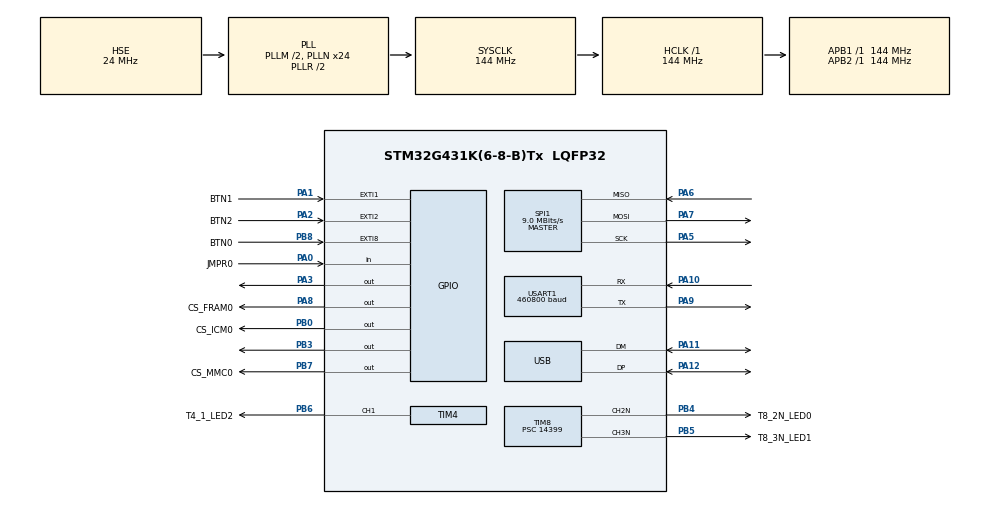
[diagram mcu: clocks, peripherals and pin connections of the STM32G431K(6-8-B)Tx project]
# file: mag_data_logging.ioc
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Dma.Request0=SPI1_RX
Dma.Request1=SPI1_TX
Dma.Request2=USART1_TX
Dma.SPI1_RX.0.Direction=DMA_PERIPH_TO_MEMORY
Dma.SPI1_RX.0.EventEnable=DISABLE
Dma.SPI1_RX.0.Instance=DMA1_Channel1
Dma.SPI1_RX.0.MemDataAlignment=DMA_MDATAALIGN_BYTE
Dma.SPI1_RX.0.MemInc=DMA_MINC_ENABLE
Dma.SPI1_RX.0.Mode=DMA_NORMAL
Dma.SPI1_RX.0.PeriphDataAlignment=DMA_PDATAALIGN_BYTE
Dma.SPI1_RX.0.PeriphInc=DMA_PINC_DISABLE
Dma.SPI1_RX.0.Polarity=HAL_DMAMUX_REQ_GEN_RISING
Dma.SPI1_RX.0.Priority=DMA_PRIORITY_MEDIUM
Dma.SPI1_RX.0.RequestNumber=1
Dma.SPI1_RX.0.SignalID=NONE
Dma.SPI1_RX.0.SyncEnable=DISABLE
Dma.SPI1_RX.0.SyncPolarity=HAL_DMAMUX_SYNC_NO_EVENT
Dma.SPI1_RX.0.SyncRequestNumber=1
Dma.SPI1_RX.0.SyncSignalID=NONE
Dma.SPI1_TX.1.Direction=DMA_MEMORY_TO_PERIPH
Dma.SPI1_TX.1.EventEnable=DISABLE
Dma.SPI1_TX.1.Instance=DMA1_Channel2
Dma.SPI1_TX.1.MemDataAlignment=DMA_MDATAALIGN_BYTE
Dma.SPI1_TX.1.MemInc=DMA_MINC_ENABLE
Dma.SPI1_TX.1.Mode=DMA_NORMAL
Dma.SPI1_TX.1.PeriphDataAlignment=DMA_PDATAALIGN_BYTE
Dma.SPI1_TX.1.PeriphInc=DMA_PINC_DISABLE
Dma.SPI1_TX.1.Polarity=HAL_DMAMUX_REQ_GEN_RISING
Dma.SPI1_TX.1.Priority=DMA_PRIORITY_MEDIUM
Dma.SPI1_TX.1.RequestNumber=1
Dma.SPI1_TX.1.SignalID=NONE
Dma.SPI1_TX.1.SyncEnable=DISABLE
Dma.SPI1_TX.1.SyncPolarity=HAL_DMAMUX_SYNC_NO_EVENT
Dma.SPI1_TX.1.SyncRequestNumber=1
Dma.SPI1_TX.1.SyncSignalID=NONE
Dma.USART1_TX.2.Direction=DMA_MEMORY_TO_PERIPH
Dma.USART1_TX.2.EventEnable=DISABLE
Dma.USART1_TX.2.Instance=DMA1_Channel3
Dma.USART1_TX.2.MemDataAlignment=DMA_MDATAALIGN_BYTE
Dma.USART1_TX.2.MemInc=DMA_MINC_ENABLE
Dma.USART1_TX.2.Mode=DMA_NORMAL
Dma.USART1_TX.2.PeriphDataAlignment=DMA_PDATAALIGN_BYTE
Dma.USART1_TX.2.PeriphInc=DMA_PINC_DISABLE
Dma.USART1_TX.2.Polarity=HAL_DMAMUX_REQ_GEN_RISING
Dma.USART1_TX.2.Priority=DMA_PRIORITY_LOW
Dma.USART1_TX.2.RequestNumber=1
Dma.USART1_TX.2.SignalID=NONE
Dma.USART1_TX.2.SyncEnable=DISABLE
Dma.USART1_TX.2.SyncPolarity=HAL_DMAMUX_SYNC_NO_EVENT
Dma.USART1_TX.2.SyncRequestNumber=1
Dma.USART1_TX.2.SyncSignalID=NONE
Mcu.Family=STM32G4
Mcu.Name=STM32G431K(6-8-B)Tx
Mcu.Package=LQFP32
NVIC.DMA1_Channel1_IRQn=true\:0\:0\:false\:false\:true\:false\:true
NVIC.DMA1_Channel2_IRQn=true\:0\:0\:false\:false\:true\:false\:true
NVIC.DMA1_Channel3_IRQn=true\:0\:0\:false\:false\:true\:false\:true
NVIC.EXTI1_IRQn=true\:3\:0\:true\:false\:true\:true\:true
NVIC.EXTI2_IRQn=true\:3\:0\:true\:false\:true\:true\:true
NVIC.EXTI9_5_IRQn=true\:3\:0\:true\:false\:true\:true\:true
NVIC.PriorityGroup=NVIC_PRIORITYGROUP_4
NVIC.SPI1_IRQn=true\:1\:0\:true\:false\:true\:true\:true
NVIC.TIM1_UP_TIM16_IRQn=true\:5\:0\:true\:false\:true\:true\:true
NVIC.USART1_IRQn=true\:4\:0\:true\:false\:true\:true\:true
NVIC.USB_LP_IRQn=true\:2\:0\:true\:false\:true\:false\:true
PA0.GPIO_Label=JMPR0
PA0.GPIO_Mode=GPIO_MODE_INPUT
PA0.GPIO_PuPd=GPIO_PULLUP
PA0.Signal=GPIO_Input
PA1.GPIO_Label=BTN1
PA1.GPIO_ModeDefaultEXTI=GPIO_MODE_IT_RISING
PA1.GPIO_PuPd=GPIO_PULLDOWN
PA1.Signal=GPXTI1
PA10.Mode=Asynchronous
PA10.Signal=USART1_RX
PA11.Mode=Device
PA11.Signal=USB_DM
PA12.Mode=Device
PA12.Signal=USB_DP
PA13.Mode=Serial_Wire
PA13.Signal=SYS_JTMS-SWDIO
PA14.Mode=Serial_Wire
PA14.Signal=SYS_JTCK-SWCLK
PA2.GPIO_Label=BTN2
PA2.GPIO_ModeDefaultEXTI=GPIO_MODE_IT_RISING
PA2.GPIO_PuPd=GPIO_PULLDOWN
PA2.Signal=GPXTI2
PA3.Signal=GPIO_Output
PA5.Mode=Full_Duplex_Master
PA5.Signal=SPI1_SCK
PA6.Mode=Full_Duplex_Master
PA6.Signal=SPI1_MISO
PA7.Mode=Full_Duplex_Master
PA7.Signal=SPI1_MOSI
PA8.GPIO_Label=CS_FRAM0
PA8.PinState=GPIO_PIN_SET
PA8.Signal=GPIO_Output
PA9.Mode=Asynchronous
PA9.Signal=USART1_TX
PB0.GPIO_Label=CS_ICM0
PB0.PinState=GPIO_PIN_SET
PB0.Signal=GPIO_Output
PB3.Signal=GPIO_Output
PB4.GPIO_Label=T8_2N_LED0
PB4.Mode=PWM Generation2 CH2N
PB4.Signal=TIM8_CH2N
PB5.GPIO_Label=T8_3N_LED1
PB5.Mode=PWM Generation3 CH3N
PB5.Signal=TIM8_CH3N
PB6.GPIO_Label=T4_1_LED2
PB6.Signal=S_TIM4_CH1
PB7.GPIO_Label=CS_MMC0
PB7.PinState=GPIO_PIN_SET
PB7.Signal=GPIO_Output
PB8-BOOT0.GPIO_Label=BTN0
PB8-BOOT0.GPIO_PuPd=GPIO_PULLDOWN
PB8-BOOT0.Signal=GPXTI8
PF0-OSC_IN.Mode=HSE-External-Oscillator
PF0-OSC_IN.Signal=RCC_OSC_IN
PF1-OSC_OUT.Mode=HSE-External-Oscillator
PF1-OSC_OUT.Signal=RCC_OSC_OUT
ProjectManager.HeapSize=0x200
ProjectManager.StackSize=0x400
ProjectManager.TargetToolchain=STM32CubeIDE
RCC.ADC12Freq_Value=144000000
RCC.AHBFreq_Value=144000000
RCC.APB1Freq_Value=144000000
RCC.APB1TimFreq_Value=144000000
RCC.APB2Freq_Value=144000000
RCC.APB2TimFreq_Value=144000000
RCC.CortexFreq_Value=144000000
RCC.EXTERNAL_CLOCK_VALUE=12288000
RCC.HCLKFreq_Value=144000000
RCC.HSE_VALUE=24000000
RCC.HSI48_VALUE=48000000
RCC.HSI_VALUE=16000000
RCC.LSE_VALUE=32768
RCC.PLLM=RCC_PLLM_DIV2
RCC.PLLN=24
RCC.PLLQ=RCC_PLLQ_DIV6
RCC.PLLSourceVirtual=RCC_PLLSOURCE_HSE
RCC.SYSCLKFreq_VALUE=144000000
RCC.SYSCLKSource=RCC_SYSCLKSOURCE_PLLCLK
RCC.USBFreq_Value=48000000
RCC.VCOOutputFreq_Value=288000000
SH.S_TIM4_CH1.0=TIM4_CH1,PWM Generation1 CH1
SPI1.BaudRatePrescaler=SPI_BAUDRATEPRESCALER_16
SPI1.CalculateBaudRate=9.0 MBits/s
SPI1.DataSize=SPI_DATASIZE_8BIT
SPI1.Direction=SPI_DIRECTION_2LINES
SPI1.Mode=SPI_MODE_MASTER
SPI1.VirtualType=VM_MASTER
TIM1.PeriodNoDither=9999
TIM1.Prescaler=143
TIM1.RepetitionCounter=0
TIM4.Channel-PWM\ Generation1\ CH1=TIM_CHANNEL_1
TIM4.PeriodNoDither=9999
TIM4.Prescaler=14399
TIM4.PulseNoDither_1=4999
TIM8.Channel-PWM\ Generation2\ CH2N=TIM_CHANNEL_2
TIM8.Channel-PWM\ Generation3\ CH3N=TIM_CHANNEL_3
TIM8.PeriodNoDither=9999
TIM8.Prescaler=14399
TIM8.PulseNoDither_2=999
TIM8.PulseNoDither_3=1999
USART1.BaudRate=460800
USART1.VirtualMode-Asynchronous=VM_ASYNC
USART1.WordLength=WORDLENGTH_8B
USB_DEVICE.CLASS_NAME_FS=CDC
USB_DEVICE.MANUFACTURER_STRING=mag_data_logging
USB_DEVICE.USBD_LPM_ENABLED=0
USB_DEVICE.USBD_MAX_NUM_INTERFACES=1
USB_DEVICE.USBD_SELF_POWERED=0
USB_DEVICE.VirtualMode=Cdc
USB_DEVICE.VirtualModeFS=Cdc_FS
VP_SYS_VS_DBSignals.Mode=DisableDeadBatterySignals
VP_TIM1_VS_ClockSourceINT.Mode=Internal
VP_TIM4_VS_ClockSourceINT.Mode=Internal
VP_TIM8_VS_ClockSourceINT.Mode=Internal
VP_USB_DEVICE_VS_USB_DEVICE_CDC_FS.Mode=CDC_FS
board=custom

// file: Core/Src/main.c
/* USER CODE BEGIN Header */
/**
  ******************************************************************************
  * @file           : main.c
  * @brief          : Main program body
  ******************************************************************************
  * @attention
  *
  * <h2><center>&copy; Copyright (c) 2020 STMicroelectronics.
  * All rights reserved.</center></h2>
  *
  * This software component is licensed by ST under Ultimate Liberty license
  * SLA0044, the "License"; You may not use this file except in compliance with
  * the License. You may obtain a copy of the License at:
  *                             www.st.com/SLA0044
  *
  ******************************************************************************
  */
/* USER CODE END Header */
#include "main.h"
#include "dma.h"
#include "spi.h"
#include "tim.h"
#include "usart.h"
#include "usb_device.h"
#include "gpio.h"

/* USER CODE BEGIN Includes */
#include <math.h>
#include "global_variables.h"
#include "initialize.h"
#include "usbd_cdc_if.h"
/* USER CODE END Includes */

/* USER CODE BEGIN PV */
volatile bool tim1_int = false;
/* USER CODE END PV */

void SystemClock_Config(void);
/* USER CODE BEGIN PFP */
void BootLocation(void);
void JumpToBootloader(void);
/* USER CODE END PFP */

/* USER CODE BEGIN 0 */
#define DEBUG_BUFFER_LENGTH   10
void CollectAndSendMagData() {
  static bool collect_mag = false;
  static int count_20ms = 0;
  static int16_t buffer[2][DEBUG_BUFFER_LENGTH][3];
  static bool buffer_bool = 0;

  float  MMC0_floats[3];
  static int16_t MMC0_raw[3];
  if (tim1_int) {
    //read mag
    if (collect_mag) {
      MMC5983MA_Read(&MMC0, MMC0_floats, MMC0_raw);

      for (int i = 0; i < 3; i++) {
        buffer[buffer_bool][count_20ms % DEBUG_BUFFER_LENGTH][i] = MMC0_raw[i];
      }
      if (count_20ms % DEBUG_BUFFER_LENGTH == DEBUG_BUFFER_LENGTH - 5) {
        static uint64_t sync_marker = 0x0123456789abcdef;
        CDC_Transmit_FS((uint8_t*)(&sync_marker), sizeof(sync_marker));
      }
      if (count_20ms % DEBUG_BUFFER_LENGTH == DEBUG_BUFFER_LENGTH - 1) {
        CDC_Transmit_FS((uint8_t*)(&(buffer[buffer_bool][0][0])), sizeof(buffer)/2);
        buffer_bool = !buffer_bool;
      }
      count_20ms++;
      count_20ms %= 50;
    } else {
      MMC5983MA_Start(&MMC0);
    }
    collect_mag = !collect_mag;
    tim1_int = false;
  }
}
void HAL_TIM_PeriodElapsedCallback(TIM_HandleTypeDef *htim) {
  if (htim == &htim1) {
    tim1_int = true;
  }
}
/* USER CODE END 0 */

int main(void)
{
  /* USER CODE BEGIN 1 */
//  BootLocation(); //doesn't work right
  /* USER CODE END 1 */

  /* MCU Configuration--------------------------------------------------------*/

  /* Reset of all peripherals, Initializes the Flash interface and the Systick. */
  HAL_Init();

  /* Configure the system clock */
  SystemClock_Config();

  /* Initialize all configured peripherals */
  MX_GPIO_Init();
  MX_DMA_Init();
  MX_SPI1_Init();
  MX_USART1_UART_Init();
  MX_USB_Device_Init();
  MX_TIM1_Init();
  MX_TIM4_Init();
  MX_TIM8_Init();
  /* USER CODE BEGIN 2 */
  Init();
  uint8_t aTxBuffer[2] = {0};
  uint8_t aRxBuffer[2] = {0};
  aTxBuffer[0] = Config_Reg1;
  aTxBuffer[1] = ODR100;
  HAL_GPIO_WritePin(MMC0.CS_Port, MMC0.CS_Pin, GPIO_PIN_RESET);
  HAL_SPI_TransmitReceive(MMC0.SPI_Bus, (uint8_t*) &aTxBuffer, (uint8_t*) &aRxBuffer, 2, 5);
  HAL_GPIO_WritePin(MMC0.CS_Port, MMC0.CS_Pin, GPIO_PIN_SET);
  /* USER CODE END 2 */

  /* Infinite loop */
  /* USER CODE BEGIN WHILE */
  while (1)
  {
    CollectAndSendMagData();
//    char message[] = "this is a test message\n";
//    CDC_Transmit_FS((uint8_t*)message, strlen(message));
//    HAL_Delay(500);
    /* USER CODE END WHILE */

  }
}

void SystemClock_Config(void)
{
  RCC_OscInitTypeDef RCC_OscInitStruct = {0};
  RCC_ClkInitTypeDef RCC_ClkInitStruct = {0};
  RCC_PeriphCLKInitTypeDef PeriphClkInit = {0};

  /** Configure the main internal regulator output voltage
  */
  HAL_PWREx_ControlVoltageScaling(PWR_REGULATOR_VOLTAGE_SCALE1);
  /** Initializes the RCC Oscillators according to the specified parameters
  * in the RCC_OscInitTypeDef structure.
  */
  RCC_OscInitStruct.OscillatorType = RCC_OSCILLATORTYPE_HSE;
  RCC_OscInitStruct.HSEState = RCC_HSE_ON;
  RCC_OscInitStruct.PLL.PLLState = RCC_PLL_ON;
  RCC_OscInitStruct.PLL.PLLSource = RCC_PLLSOURCE_HSE;
  RCC_OscInitStruct.PLL.PLLM = RCC_PLLM_DIV2;
  RCC_OscInitStruct.PLL.PLLN = 24;
  RCC_OscInitStruct.PLL.PLLP = RCC_PLLP_DIV2;
  RCC_OscInitStruct.PLL.PLLQ = RCC_PLLQ_DIV6;
  RCC_OscInitStruct.PLL.PLLR = RCC_PLLR_DIV2;
  if (HAL_RCC_OscConfig(&RCC_OscInitStruct) != HAL_OK)
  {
    Error_Handler();
  }
  /** Initializes the CPU, AHB and APB buses clocks
  */
  RCC_ClkInitStruct.ClockType = RCC_CLOCKTYPE_HCLK|RCC_CLOCKTYPE_SYSCLK
                              |RCC_CLOCKTYPE_PCLK1|RCC_CLOCKTYPE_PCLK2;
  RCC_ClkInitStruct.SYSCLKSource = RCC_SYSCLKSOURCE_PLLCLK;
  RCC_ClkInitStruct.AHBCLKDivider = RCC_SYSCLK_DIV1;
  RCC_ClkInitStruct.APB1CLKDivider = RCC_HCLK_DIV1;
  RCC_ClkInitStruct.APB2CLKDivider = RCC_HCLK_DIV1;

  if (HAL_RCC_ClockConfig(&RCC_ClkInitStruct, FLASH_LATENCY_4) != HAL_OK)
  {
    Error_Handler();
  }
  /** Initializes the peripherals clocks
  */
  PeriphClkInit.PeriphClockSelection = RCC_PERIPHCLK_USART1|RCC_PERIPHCLK_USB;
  PeriphClkInit.Usart1ClockSelection = RCC_USART1CLKSOURCE_PCLK2;
  PeriphClkInit.UsbClockSelection = RCC_USBCLKSOURCE_PLL;
  if (HAL_RCCEx_PeriphCLKConfig(&PeriphClkInit) != HAL_OK)
  {
    Error_Handler();
  }
}

/* USER CODE BEGIN 4 */
void BootLocation(void) {
  __HAL_RCC_GPIOA_CLK_ENABLE();
  GPIO_InitTypeDef GPIO_InitStruct = {0};
  GPIO_InitStruct.Pin = BTN0_Pin;
  GPIO_InitStruct.Mode = GPIO_MODE_INPUT;
  GPIO_InitStruct.Pull = GPIO_PULLUP;
  HAL_GPIO_Init(GPIOA, &GPIO_InitStruct);

  if (!HAL_GPIO_ReadPin(GPIOA, BTN0_Pin)) {
    HAL_GPIO_DeInit(GPIOA, BTN0_Pin);
    __HAL_RCC_GPIOA_CLK_DISABLE();
    JumpToBootloader();
  }
}

/**
 * Function to perform jump to system memory boot from user application
 *
 * Call function when you want to jump to system memory
 */
void JumpToBootloader(void) {
  void (*SysMemBootJump)(void);

  /**
   * Step: Set system memory address.
   *
   *       For STM32F429, system memory is on 0x1FFF 0000
   *       For other families, check AN2606 document table 110 with descriptions of memory addresses
   */
  volatile uint32_t addr = 0x1FFF0000;

  /**
   * Step: Disable RCC, set it to default (after reset) settings
   *       Internal clock, no PLL, etc.
   */
#if defined(USE_HAL_DRIVER)
  HAL_RCC_DeInit();
#endif /* defined(USE_HAL_DRIVER) */
#if defined(USE_STDPERIPH_DRIVER)
  RCC_DeInit();
#endif /* defined(USE_STDPERIPH_DRIVER) */

  /**
   * Step: Disable systick timer and reset it to default values
   */
  SysTick->CTRL = 0;
  SysTick->LOAD = 0;
  SysTick->VAL = 0;

  /**
   * Step: Disable all interrupts
   */
  __disable_irq();

  /**
   * Step: Remap system memory to address 0x0000 0000 in address space
   *       For each family registers may be different.
   *       Check reference manual for each family.
   *
   *       For STM32F4xx, MEMRMP register in SYSCFG is used (bits[1:0])
   *       For STM32F0xx, CFGR1 register in SYSCFG is used (bits[1:0])
   *       For others, check family reference manual
   */
  //Remap by hand... {
//#if defined(STM32G4)
//  SYSCFG->MEMRMP = 0x01;
//#endif
//#if defined(STM32F4)
//  SYSCFG->MEMRMP = 0x01;
//#endif
//#if defined(STM32F0)
//  SYSCFG->CFGR1 = 0x01;
//#endif
//  //} ...or if you use HAL drivers
  __HAL_SYSCFG_REMAPMEMORY_SYSTEMFLASH(); //Call HAL macro to do this for you

  /**
   * Step: Set jump memory location for system memory
   *       Use address with 4 bytes offset which specifies jump location where program starts
   */
  SysMemBootJump = (void (*)(void)) (*((uint32_t *)(addr + 4)));

  /**
   * Step: Set main stack pointer.
   *       This step must be done last otherwise local variables in this function
   *       don't have proper value since stack pointer is located on different position
   *
   *       Set direct address location which specifies stack pointer in SRAM location
   */
  __set_MSP(*(uint32_t *)addr);

  /**
   * Step: Actually call our function to jump to set location
   *       This will start system memory execution
   */
  SysMemBootJump();

  /**
   * Step: Connect USB<->UART converter to dedicated USART pins and test
   *       and test with bootloader works with STM32 Flash Loader Demonstrator software
   */
}
/* USER CODE END 4 */

void Error_Handler(void)
{
}

/************************ (C) COPYRIGHT STMicroelectronics *****END OF FILE****/
